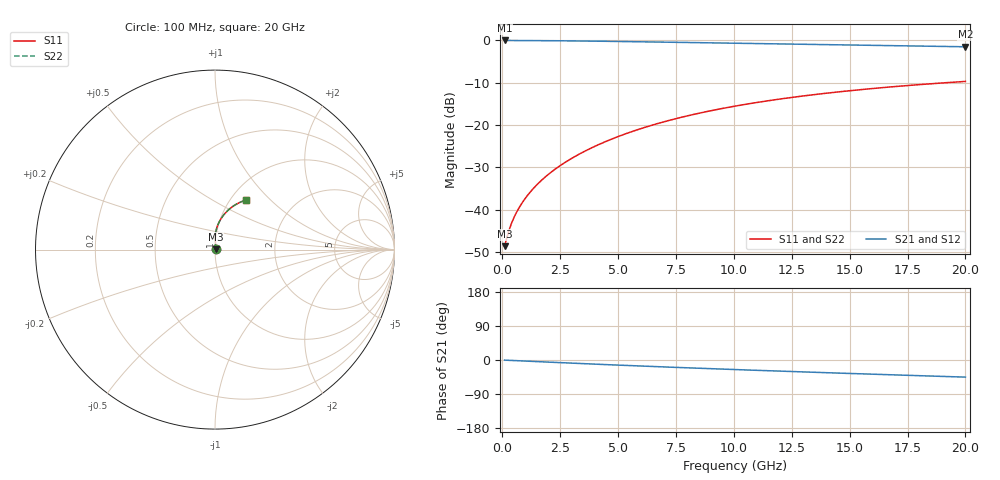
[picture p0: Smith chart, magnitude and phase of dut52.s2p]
! Touchstone file exported from HFSS 2024.1.0
!  File:  C:/UserFiles/LocalFiles/RDL_TSV_Batchsim/temp_RDL_bottom_52_1778693044.aedt
!  Generated:  01:26:35 AM May 14, 2026
!  Design:  RDL_bottom
!  Project:  temp_RDL_bottom_52_1778693044
!  Setup:  Setup1
!  Solution:  Sweep
! Variables:
!  dtsv = 10.80580581um
!  hbump = 3um
!  htsv = 84.81um
!  ldown = 672.4um
!  lrdl = 100um
!  p = 40
!  p1 = 51.37um
!  rhole = 1um
!  t = 450um
!  tdown = 2.71um
!  trdl = 3.915915916um
!  wdown = 29.22um
!  wrdl = 20um
# GHz S MA R 50.000000
! Terminal data exported
! Port[1] = RDL1_T1
! Port[2] = RDL1_T2
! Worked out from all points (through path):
!   200 points, 100 MHz to 20 GHz, reference 50 ohm
!   highest |S21| = -0.03 dB at 100 MHz (marker M1); lowest = -1.5 dB at 20 GHz (marker M2)
!   group delay of S21, straight-line fit = 6.19 ps
!   lowest |S11| = -48.7 dB at 100 MHz (marker M3), VSWR 1.01, Z = 50.3 + j0.159 ohm
!   |S11| at or under -10 dB: start of sweep to 19.2 GHz
!   |S22| runs from -48.7 to -9.7 dB; largest |S21 - S12| = 6.2e-15
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0.1  0.003689 25.3  0.9966 -0.3  0.9966 -0.3  0.003689 25.3
! Gamma 0 0 0 0
! Port Impedance 50 0 50 0
0.3  0.005775 49.8  0.9961 -0.9  0.9961 -0.9  0.005775 49.8
0.4  0.006894 55.5  0.9958 -1.2  0.9958 -1.2  0.006893 55.6
0.5  0.007999 59.8  0.9956 -1.4  0.9956 -1.4  0.007999 59.8
0.6  0.009102 63.3  0.9953 -1.7  0.9953 -1.7  0.009101 63.3
0.8  0.01134 68.6  0.9948 -2.3  0.9948 -2.3  0.01134 68.6
1  0.01364 72.6  0.9943 -2.8  0.9943 -2.8  0.01364 72.6
1.2  0.01602 75.7  0.9937 -3.4  0.9937 -3.4  0.01602 75.7
1.7  0.02225 80.9  0.9919 -4.8  0.9919 -4.8  0.02225 80.9
2.2  0.02888 84.2  0.9896 -6.2  0.9896 -6.2  0.02889 84.2
2.8  0.03736 86.6  0.9863 -7.8  0.9863 -7.8  0.03736 86.6
3.5  0.04793 88.2  0.9816 -9.6  0.9816 -9.6  0.04795 88.2
4.2  0.05921 88.9  0.9764 -11.5  0.9764 -11.5  0.05923 88.9
5  0.07283 88.8  0.9699 -13.5  0.9699 -13.5  0.07286 88.8
5.9  0.08891 88.1  0.9621 -15.7  0.9621 -15.7  0.08895 88.1
6.8  0.1055 86.8  0.954 -17.9  0.954 -17.9  0.1056 86.8
8.4  0.1357 83.7  0.9393 -21.6  0.9393 -21.6  0.1358 83.7
10.1  0.1678 79.9  0.9237 -25.3  0.9237 -25.3  0.1679 79.9
11.7  0.1971 76.2  0.9093 -28.8  0.9093 -28.8  0.1973 76.2
13.4  0.227 72.2  0.8943 -32.3  0.8943 -32.3  0.2272 72.2
16.7  0.2803 64.7  0.8661 -38.9  0.8661 -38.9  0.2805 64.7
20  0.3268 57.7  0.8391 -45.2  0.8391 -45.2  0.327 57.7
